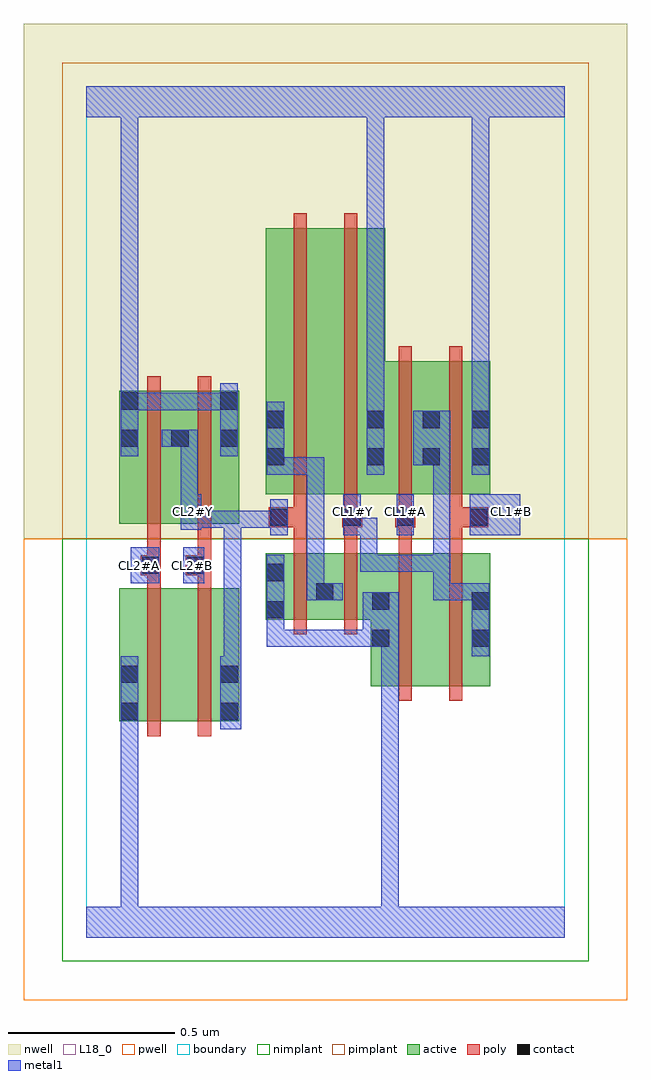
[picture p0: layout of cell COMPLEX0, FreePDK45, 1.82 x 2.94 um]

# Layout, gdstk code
import gdstk
lib = gdstk.Library(unit=1e-6, precision=1e-09)
def R(c, l, rs):  # rectangles x0, y0, x1, y1
    for r in rs: c.add(gdstk.rectangle(r[:2], r[2:], *l))
active = (1, 0)
pwell = (2, 0)
nwell = (3, 0)
nimplant = (4, 0)
pimplant = (5, 0)
poly = (9, 0)
contact = (10, 0)
metal1 = (11, 0)
L18_0 = (18, 0)
boundary = (235, 0)

complex0 = lib.new_cell('COMPLEX0')
R(complex0, active, [(0.1,0.65,0.16,1.05), (0.1,0.65,0.28,1.05), (0.28,0.65,0.46,1.05), (0.4,0.65,0.46,1.05), (0.856,0.756,0.916,1.156), (0.856,0.756,1.036,1.156), (1.036,0.756,1.216,1.156), (1.156,0.756,1.216,1.156), (0.54,0.956,0.748,1.156), (0.54,0.956,0.6,1.156), (0.688,0.956,0.916,1.156), (0.688,0.956,0.748,1.07), (0.1,1.244,0.16,1.644), (0.1,1.244,0.312,1.644), (0.252,1.244,0.312,1.644), (0.252,1.244,0.46,1.644), (0.4,1.244,0.46,1.644), (0.54,1.334,0.72,2.134), (0.54,1.334,0.6,2.044), (0.72,1.334,0.9,2.134), (0.84,1.334,1.068,1.734), (1.008,1.334,1.068,1.644), (1.008,1.334,1.216,1.734), (1.156,1.334,1.216,1.644), (0.84,1.416,0.9,1.644)])
R(complex0, pwell, [(-0.188,-0.188,1.628,1.2)])
R(complex0, nwell, [(-0.188,1.2,1.628,2.748)])
R(complex0, nimplant, [(-0.072,-0.072,1.512,1.2)])
R(complex0, pimplant, [(-0.072,1.2,1.512,2.632)])
R(complex0, poly, [(0.184,0.606,0.224,1.094), (0.336,0.606,0.376,1.094), (0.94,0.712,0.98,1.2), (1.092,0.712,1.132,1.2), (0.624,0.912,0.664,1.2), (0.776,0.912,0.816,1.2), (0.184,1.054,0.224,1.13), (0.336,1.054,0.376,1.13), (0.164,1.09,0.224,1.15), (0.3,1.09,0.376,1.15), (0.184,1.11,0.224,1.15), (0.184,1.11,0.224,1.15), (0.184,1.11,0.224,1.24), (0.336,1.11,0.376,1.15), (0.336,1.11,0.376,1.15), (0.336,1.11,0.376,1.24), (0.624,1.16,0.664,1.274), (0.776,1.16,0.816,1.274), (0.94,1.16,0.98,1.274), (1.092,1.16,1.132,1.274), (0.184,1.2,0.224,1.688), (0.336,1.2,0.376,1.688), (0.55,1.234,0.664,1.294), (0.624,1.234,0.664,1.274), (0.624,1.234,0.664,1.274), (0.77,1.234,0.83,1.294), (0.93,1.234,0.99,1.294), (0.94,1.234,0.98,1.274), (0.94,1.234,0.98,1.274), (1.092,1.234,1.21,1.294), (0.624,1.254,0.664,1.33), (0.776,1.254,0.816,1.33), (0.776,1.254,0.816,1.294), (0.776,1.254,0.816,1.294), (0.94,1.254,0.98,1.33), (1.092,1.254,1.132,1.33), (1.092,1.254,1.132,1.294), (1.092,1.254,1.132,1.294), (0.624,1.29,0.664,2.178), (0.776,1.29,0.816,2.178), (0.94,1.29,0.98,1.778), (1.092,1.29,1.132,1.778)])
R(complex0, contact, [(0.104,0.654,0.156,0.706), (0.404,0.654,0.456,0.706), (0.104,0.766,0.156,0.818), (0.404,0.766,0.456,0.818), (0.86,0.874,0.912,0.926), (1.16,0.874,1.212,0.926), (0.544,0.96,0.596,1.012), (0.86,0.986,0.912,1.038), (1.16,0.986,1.212,1.038), (0.692,1.014,0.744,1.066), (0.544,1.072,0.596,1.124), (0.168,1.094,0.22,1.146), (0.304,1.094,0.356,1.146), (0.554,1.238,0.606,1.29), (0.774,1.238,0.826,1.29), (0.934,1.238,0.986,1.29), (1.154,1.238,1.206,1.29), (0.544,1.42,0.596,1.472), (0.844,1.42,0.896,1.472), (1.012,1.42,1.064,1.472), (1.16,1.42,1.212,1.472), (0.104,1.476,0.156,1.528), (0.256,1.476,0.308,1.528), (0.404,1.476,0.456,1.528), (0.544,1.532,0.596,1.584), (0.844,1.532,0.896,1.584), (1.012,1.532,1.064,1.584), (1.16,1.532,1.212,1.584), (0.104,1.588,0.156,1.64), (0.404,1.588,0.456,1.64)])
R(complex0, metal1, [(0,0,1.44,0.092), (0.104,0.04,0.156,0.092), (0.104,0.04,0.156,0.092), (0.104,0.04,0.156,0.092), (0.104,0.04,0.156,0.092), (0.104,0.04,0.156,0.092), (0.104,0.04,0.156,0.092), (0.104,0.04,0.156,0.092), (0.104,0.04,0.156,0.092), (0.104,0.04,0.156,0.092), (0.104,0.04,0.156,0.092), (0.104,0.04,0.156,0.092), (0.104,0.04,0.156,0.092), (0.104,0.04,0.156,0.678), (0.888,0.04,0.94,0.092), (0.888,0.04,0.94,0.092), (0.888,0.04,0.94,0.092), (0.888,0.04,0.94,0.092), (0.888,0.04,0.94,0.092), (0.888,0.04,0.94,0.092), (0.888,0.04,0.94,0.092), (0.888,0.04,0.94,0.092), (0.888,0.04,0.94,0.092), (0.888,0.04,0.94,0.092), (0.888,0.04,0.94,0.092), (0.888,0.04,0.94,0.092), (0.888,0.04,0.94,0.926), (0.104,0.626,0.156,0.846), (0.404,0.626,0.466,0.846), (0.414,0.794,0.466,1.284), (1.16,0.846,1.212,1.066), (0.544,0.874,0.596,0.926), (0.544,0.874,0.596,0.926), (0.544,0.874,0.596,0.926), (0.544,0.874,0.766,0.926), (0.544,0.874,0.596,0.984), (0.714,0.874,0.766,0.926), (0.714,0.874,0.766,0.926), (0.714,0.874,0.766,0.926), (0.714,0.874,0.884,0.926), (0.832,0.874,0.94,1.038), (0.544,0.932,0.596,0.984), (0.544,0.932,0.596,0.984), (0.544,0.932,0.596,1.152), (0.664,1.014,0.716,1.066), (0.664,1.014,0.716,1.066), (0.664,1.014,0.716,1.066), (0.664,1.014,0.716,1.066), (0.664,1.014,0.716,1.444), (0.664,1.014,0.772,1.066), (1.044,1.014,1.096,1.066), (1.044,1.014,1.212,1.066), (1.044,1.014,1.096,1.152), (1.16,1.014,1.212,1.066), (1.16,1.014,1.212,1.066), (0.134,1.066,0.22,1.174), (0.292,1.066,0.356,1.174), (0.824,1.1,1.096,1.152), (0.824,1.1,0.876,1.262), (1.044,1.1,1.096,1.152), (1.044,1.1,1.096,1.152), (1.044,1.1,1.096,1.152), (1.044,1.1,1.096,1.152), (1.044,1.1,1.096,1.152), (1.044,1.1,1.096,1.472), (0.554,1.21,0.606,1.318), (0.774,1.21,0.826,1.334), (0.774,1.21,0.876,1.262), (0.934,1.21,0.986,1.334), (1.154,1.21,1.306,1.334), (0.284,1.226,0.346,1.334), (0.294,1.232,0.346,1.284), (0.294,1.232,0.346,1.284), (0.294,1.232,0.466,1.284), (0.414,1.232,0.466,1.284), (0.414,1.232,0.466,1.284), (0.414,1.232,0.466,1.284), (0.414,1.232,0.466,1.284), (0.414,1.232,0.466,1.284), (0.414,1.232,0.606,1.284), (0.284,1.282,0.336,1.528), (0.544,1.392,0.596,1.444), (0.544,1.392,0.596,1.444), (0.544,1.392,0.596,1.612), (0.544,1.392,0.716,1.444), (0.664,1.392,0.716,1.444), (0.844,1.392,0.896,1.612), (1.16,1.392,1.212,1.612), (0.984,1.42,1.096,1.584), (0.104,1.448,0.156,1.668), (0.404,1.448,0.456,1.668), (0.228,1.476,0.336,1.528), (0.844,1.56,0.896,2.52), (1.16,1.56,1.212,2.52), (0.104,1.586,0.156,1.638), (0.104,1.586,0.156,1.638), (0.104,1.586,0.266,1.638), (0.214,1.586,0.266,1.638), (0.214,1.586,0.266,1.638), (0.214,1.586,0.266,1.638), (0.214,1.586,0.456,1.638), (0.104,1.616,0.156,2.52), (0,2.468,1.44,2.56), (0.104,2.468,0.156,2.52), (0.104,2.468,0.156,2.52), (0.104,2.468,0.156,2.52), (0.104,2.468,0.156,2.52), (0.104,2.468,0.156,2.52), (0.104,2.468,0.156,2.52), (0.104,2.468,0.156,2.52), (0.104,2.468,0.156,2.52), (0.104,2.468,0.156,2.52), (0.104,2.468,0.156,2.52), (0.104,2.468,0.156,2.52), (0.104,2.468,0.156,2.52), (0.104,2.468,0.156,2.52), (0.104,2.468,0.156,2.52), (0.104,2.468,0.156,2.52), (0.104,2.468,0.156,2.52), (0.844,2.468,0.896,2.52), (0.844,2.468,0.896,2.52), (0.844,2.468,0.896,2.52), (0.844,2.468,0.896,2.52), (0.844,2.468,0.896,2.52), (0.844,2.468,0.896,2.52), (0.844,2.468,0.896,2.52), (0.844,2.468,0.896,2.52), (1.16,2.468,1.212,2.52), (1.16,2.468,1.212,2.52), (1.16,2.468,1.212,2.52), (1.16,2.468,1.212,2.52), (1.16,2.468,1.212,2.52), (1.16,2.468,1.212,2.52), (1.16,2.468,1.212,2.52), (1.16,2.468,1.212,2.52), (1.16,2.468,1.212,2.52), (1.16,2.468,1.212,2.52), (1.16,2.468,1.212,2.52), (1.16,2.468,1.212,2.52), (1.16,2.468,1.212,2.52), (1.16,2.468,1.212,2.52), (1.16,2.468,1.212,2.52), (1.16,2.468,1.212,2.52)])
R(complex0, L18_0, [(0,0,1.44,0.092), (0.104,0.04,0.156,0.092), (0.104,0.04,0.156,0.092), (0.104,0.04,0.156,0.092), (0.104,0.04,0.156,0.092), (0.104,0.04,0.156,0.092), (0.104,0.04,0.156,0.092), (0.104,0.04,0.156,0.092), (0.104,0.04,0.156,0.092), (0.104,0.04,0.156,0.092), (0.104,0.04,0.156,0.092), (0.104,0.04,0.156,0.092), (0.104,0.04,0.156,0.092), (0.104,0.04,0.156,0.678), (0.888,0.04,0.94,0.092), (0.888,0.04,0.94,0.092), (0.888,0.04,0.94,0.092), (0.888,0.04,0.94,0.092), (0.888,0.04,0.94,0.092), (0.888,0.04,0.94,0.092), (0.888,0.04,0.94,0.092), (0.888,0.04,0.94,0.092), (0.888,0.04,0.94,0.092), (0.888,0.04,0.94,0.092), (0.888,0.04,0.94,0.092), (0.888,0.04,0.94,0.092), (0.888,0.04,0.94,0.926), (0.104,0.626,0.156,0.846), (0.404,0.626,0.466,0.846), (0.414,0.794,0.466,1.284), (1.16,0.846,1.212,1.066), (0.544,0.874,0.596,0.926), (0.544,0.874,0.596,0.926), (0.544,0.874,0.596,0.926), (0.544,0.874,0.596,0.984), (0.544,0.874,0.766,0.926), (0.714,0.874,0.766,0.926), (0.714,0.874,0.766,0.926), (0.714,0.874,0.766,0.926), (0.714,0.874,0.884,0.926), (0.832,0.874,0.94,1.038), (0.544,0.932,0.596,0.984), (0.544,0.932,0.596,0.984), (0.544,0.932,0.596,1.152), (1.044,1.014,1.096,1.066), (1.044,1.014,1.096,1.152), (1.044,1.014,1.212,1.066), (1.16,1.014,1.212,1.066), (1.16,1.014,1.212,1.066), (0.134,1.066,0.22,1.174), (0.292,1.066,0.356,1.174), (0.134,1.094,0.186,1.146), (0.294,1.094,0.346,1.146), (0.824,1.1,0.876,1.262), (0.824,1.1,1.096,1.152), (1.044,1.1,1.096,1.152), (1.044,1.1,1.096,1.152), (1.044,1.1,1.096,1.152), (1.044,1.1,1.096,1.152), (1.044,1.1,1.096,1.152), (1.044,1.1,1.096,1.472), (0.554,1.21,0.606,1.318), (0.774,1.21,0.826,1.334), (0.774,1.21,0.876,1.262), (0.934,1.21,0.986,1.334), (1.154,1.21,1.306,1.334), (0.284,1.226,0.346,1.334), (0.294,1.232,0.346,1.284), (0.294,1.232,0.346,1.284), (0.294,1.232,0.466,1.284), (0.414,1.232,0.466,1.284), (0.414,1.232,0.466,1.284), (0.414,1.232,0.466,1.284), (0.414,1.232,0.466,1.284), (0.414,1.232,0.466,1.284), (0.414,1.232,0.606,1.284), (0.294,1.254,0.346,1.306), (0.774,1.254,0.826,1.306), (0.934,1.254,0.986,1.306), (1.254,1.254,1.306,1.306), (0.284,1.282,0.336,1.528), (0.844,1.392,0.896,1.612), (1.16,1.392,1.212,1.612), (0.984,1.42,1.096,1.584), (0.104,1.448,0.156,1.668), (0.404,1.448,0.456,1.668), (0.228,1.476,0.336,1.528), (0.844,1.56,0.896,2.52), (1.16,1.56,1.212,2.52), (0.104,1.586,0.156,1.638), (0.104,1.586,0.156,1.638), (0.104,1.586,0.266,1.638), (0.214,1.586,0.266,1.638), (0.214,1.586,0.266,1.638), (0.214,1.586,0.266,1.638), (0.214,1.586,0.456,1.638), (0.104,1.616,0.156,2.52), (0,2.468,1.44,2.56), (0.104,2.468,0.156,2.52), (0.104,2.468,0.156,2.52), (0.104,2.468,0.156,2.52), (0.104,2.468,0.156,2.52), (0.104,2.468,0.156,2.52), (0.104,2.468,0.156,2.52), (0.104,2.468,0.156,2.52), (0.104,2.468,0.156,2.52), (0.104,2.468,0.156,2.52), (0.104,2.468,0.156,2.52), (0.104,2.468,0.156,2.52), (0.104,2.468,0.156,2.52), (0.104,2.468,0.156,2.52), (0.104,2.468,0.156,2.52), (0.104,2.468,0.156,2.52), (0.104,2.468,0.156,2.52), (0.844,2.468,0.896,2.52), (0.844,2.468,0.896,2.52), (0.844,2.468,0.896,2.52), (0.844,2.468,0.896,2.52), (0.844,2.468,0.896,2.52), (0.844,2.468,0.896,2.52), (0.844,2.468,0.896,2.52), (0.844,2.468,0.896,2.52), (1.16,2.468,1.212,2.52), (1.16,2.468,1.212,2.52), (1.16,2.468,1.212,2.52), (1.16,2.468,1.212,2.52), (1.16,2.468,1.212,2.52), (1.16,2.468,1.212,2.52), (1.16,2.468,1.212,2.52), (1.16,2.468,1.212,2.52), (1.16,2.468,1.212,2.52), (1.16,2.468,1.212,2.52), (1.16,2.468,1.212,2.52), (1.16,2.468,1.212,2.52), (1.16,2.468,1.212,2.52), (1.16,2.468,1.212,2.52), (1.16,2.468,1.212,2.52), (1.16,2.468,1.212,2.52)])
R(complex0, boundary, [(0,0,1.44,2.56)])
complex0.add(gdstk.Label('CL1#A', (0.96,1.28), layer=11, texttype=0))
complex0.add(gdstk.Label('CL1#B', (1.28,1.28), layer=11, texttype=0))
complex0.add(gdstk.Label('CL1#Y', (0.8,1.28), layer=11, texttype=0))
complex0.add(gdstk.Label('CL2#A', (0.16,1.12), layer=11, texttype=0))
complex0.add(gdstk.Label('CL2#B', (0.32,1.12), layer=11, texttype=0))
complex0.add(gdstk.Label('CL2#Y', (0.32,1.28), layer=11, texttype=0))

lib.write_gds('COMPLEX0.gds')
